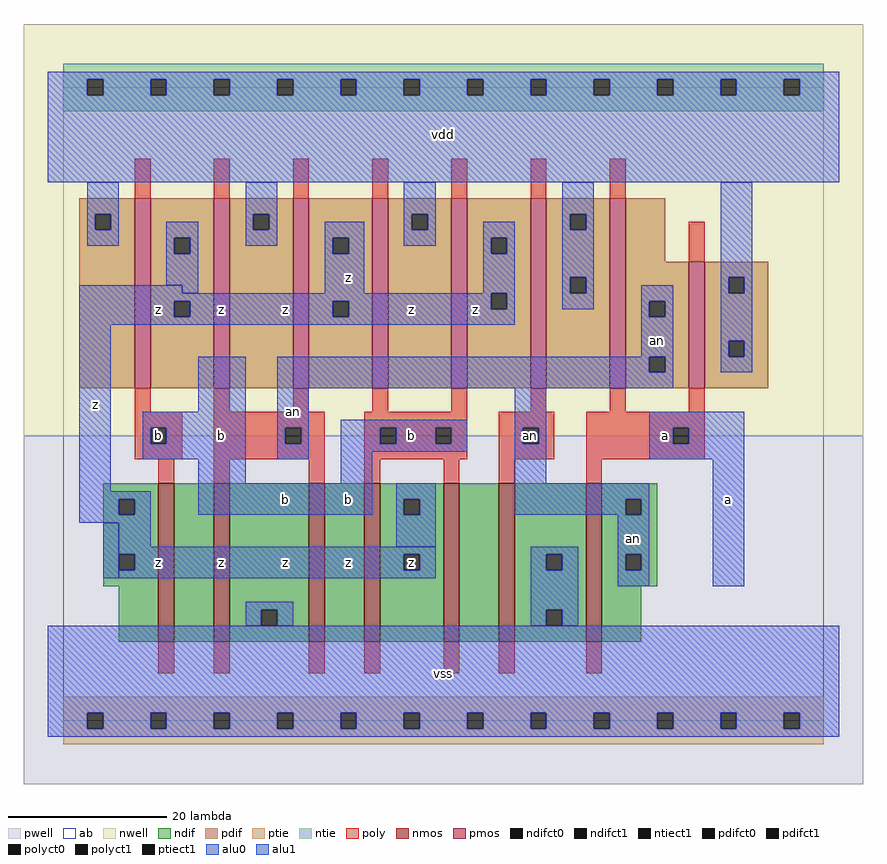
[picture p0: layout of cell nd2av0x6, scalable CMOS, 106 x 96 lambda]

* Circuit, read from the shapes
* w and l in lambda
.subckt nd2av0x6 a an b vdd vss z
M1 n1 b z vss nfet w=20 l=2
M2 vss an n1 vss nfet w=20 l=2
M3 n2 an vss vss nfet w=20 l=2
M4 z b n2 vss nfet w=20 l=2
M5 n3 b z vss nfet w=20 l=2
M6 vss an n3 vss nfet w=20 l=2
M7 an a vss vss nfet w=20 l=2
M8 z b vdd vdd pfet w=24 l=2 m=3
M9 vdd an z vdd pfet w=24 l=2 m=3
M10 an a vdd vdd pfet w=24 l=2
M11 vdd a an vdd pfet w=16 l=2
.ends

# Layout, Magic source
magic
tech scmos
<< ab >>
rect 0 0 96 80
<< nwell >>
rect -5 36 101 88
<< pwell >>
rect -5 -8 101 36
<< poly >>
rect 9 66 11 71
rect 19 66 21 71
rect 29 66 31 71
rect 39 66 41 71
rect 49 66 51 71
rect 59 66 61 71
rect 69 66 71 71
rect 79 58 81 63
rect 9 39 11 42
rect 19 39 21 42
rect 29 39 31 42
rect 39 39 41 42
rect 49 39 51 42
rect 59 39 61 42
rect 69 39 71 42
rect 79 39 81 42
rect 9 37 15 39
rect 9 35 11 37
rect 13 35 15 37
rect 9 33 15 35
rect 19 37 33 39
rect 19 35 28 37
rect 30 35 33 37
rect 19 33 33 35
rect 12 30 14 33
rect 19 30 21 33
rect 31 30 33 33
rect 38 37 51 39
rect 38 35 40 37
rect 42 35 47 37
rect 49 35 51 37
rect 38 33 51 35
rect 55 37 62 39
rect 55 35 58 37
rect 60 35 62 37
rect 55 33 62 35
rect 66 37 81 39
rect 66 35 77 37
rect 79 35 81 37
rect 66 33 81 35
rect 38 30 40 33
rect 48 30 50 33
rect 55 30 57 33
rect 66 30 68 33
rect 12 6 14 10
rect 19 6 21 10
rect 31 6 33 10
rect 38 6 40 10
rect 48 6 50 10
rect 55 6 57 10
rect 66 6 68 10
<< ndif >>
rect 5 28 12 30
rect 5 26 7 28
rect 9 26 12 28
rect 5 21 12 26
rect 5 19 7 21
rect 9 19 12 21
rect 5 17 12 19
rect 7 10 12 17
rect 14 10 19 30
rect 21 14 31 30
rect 21 12 25 14
rect 27 12 31 14
rect 21 10 31 12
rect 33 10 38 30
rect 40 28 48 30
rect 40 26 43 28
rect 45 26 48 28
rect 40 21 48 26
rect 40 19 43 21
rect 45 19 48 21
rect 40 10 48 19
rect 50 10 55 30
rect 57 21 66 30
rect 57 19 61 21
rect 63 19 66 21
rect 57 14 66 19
rect 57 12 61 14
rect 63 12 66 14
rect 57 10 66 12
rect 68 28 75 30
rect 68 26 71 28
rect 73 26 75 28
rect 68 21 75 26
rect 68 19 71 21
rect 73 19 75 21
rect 68 17 75 19
rect 68 10 73 17
<< pdif >>
rect 2 64 9 66
rect 2 62 4 64
rect 6 62 9 64
rect 2 42 9 62
rect 11 61 19 66
rect 11 59 14 61
rect 16 59 19 61
rect 11 53 19 59
rect 11 51 14 53
rect 16 51 19 53
rect 11 42 19 51
rect 21 64 29 66
rect 21 62 24 64
rect 26 62 29 64
rect 21 42 29 62
rect 31 61 39 66
rect 31 59 34 61
rect 36 59 39 61
rect 31 53 39 59
rect 31 51 34 53
rect 36 51 39 53
rect 31 42 39 51
rect 41 64 49 66
rect 41 62 44 64
rect 46 62 49 64
rect 41 42 49 62
rect 51 61 59 66
rect 51 59 54 61
rect 56 59 59 61
rect 51 54 59 59
rect 51 52 54 54
rect 56 52 59 54
rect 51 42 59 52
rect 61 64 69 66
rect 61 62 64 64
rect 66 62 69 64
rect 61 56 69 62
rect 61 54 64 56
rect 66 54 69 56
rect 61 42 69 54
rect 71 58 76 66
rect 71 53 79 58
rect 71 51 74 53
rect 76 51 79 53
rect 71 46 79 51
rect 71 44 74 46
rect 76 44 79 46
rect 71 42 79 44
rect 81 56 89 58
rect 81 54 84 56
rect 86 54 89 56
rect 81 48 89 54
rect 81 46 84 48
rect 86 46 89 48
rect 81 42 89 46
<< alu1 >>
rect -2 81 98 82
rect -2 79 3 81
rect 5 79 11 81
rect 13 79 19 81
rect 21 79 27 81
rect 29 79 35 81
rect 37 79 43 81
rect 45 79 51 81
rect 53 79 59 81
rect 61 79 67 81
rect 69 79 75 81
rect 77 79 83 81
rect 85 79 91 81
rect 93 79 98 81
rect -2 68 98 79
rect 33 61 38 63
rect 2 54 15 55
rect 33 59 34 61
rect 36 59 38 61
rect 53 61 57 63
rect 33 54 38 59
rect 53 59 54 61
rect 56 59 57 61
rect 53 54 57 59
rect 2 53 54 54
rect 2 51 14 53
rect 16 51 34 53
rect 36 52 54 53
rect 56 52 57 54
rect 36 51 57 52
rect 2 50 57 51
rect 2 29 6 50
rect 17 39 23 46
rect 10 37 23 39
rect 10 35 11 37
rect 13 35 23 37
rect 10 33 23 35
rect 35 37 51 38
rect 35 35 40 37
rect 42 35 47 37
rect 49 35 51 37
rect 35 34 51 35
rect 17 30 23 33
rect 35 30 39 34
rect 74 37 86 39
rect 74 35 77 37
rect 79 35 86 37
rect 74 33 86 35
rect 2 28 11 29
rect 2 26 7 28
rect 9 26 11 28
rect 17 26 39 30
rect 2 25 11 26
rect 7 22 11 25
rect 7 21 47 22
rect 9 19 43 21
rect 45 19 47 21
rect 7 18 47 19
rect 82 17 86 33
rect -2 1 98 12
rect -2 -1 3 1
rect 5 -1 11 1
rect 13 -1 19 1
rect 21 -1 27 1
rect 29 -1 35 1
rect 37 -1 43 1
rect 45 -1 51 1
rect 53 -1 59 1
rect 61 -1 67 1
rect 69 -1 75 1
rect 77 -1 83 1
rect 85 -1 91 1
rect 93 -1 98 1
rect -2 -2 98 -1
<< ptie >>
rect 0 1 96 3
rect 0 -1 3 1
rect 5 -1 11 1
rect 13 -1 19 1
rect 21 -1 27 1
rect 29 -1 35 1
rect 37 -1 43 1
rect 45 -1 51 1
rect 53 -1 59 1
rect 61 -1 67 1
rect 69 -1 75 1
rect 77 -1 83 1
rect 85 -1 91 1
rect 93 -1 96 1
rect 0 -3 96 -1
<< ntie >>
rect 0 81 96 83
rect 0 79 3 81
rect 5 79 11 81
rect 13 79 19 81
rect 21 79 27 81
rect 29 79 35 81
rect 37 79 43 81
rect 45 79 51 81
rect 53 79 59 81
rect 61 79 67 81
rect 69 79 75 81
rect 77 79 83 81
rect 85 79 91 81
rect 93 79 96 81
rect 0 77 96 79
<< nmos >>
rect 12 10 14 30
rect 19 10 21 30
rect 31 10 33 30
rect 38 10 40 30
rect 48 10 50 30
rect 55 10 57 30
rect 66 10 68 30
<< pmos >>
rect 9 42 11 66
rect 19 42 21 66
rect 29 42 31 66
rect 39 42 41 66
rect 49 42 51 66
rect 59 42 61 66
rect 69 42 71 66
rect 79 42 81 58
<< polyct0 >>
rect 28 35 30 37
rect 58 35 60 37
<< polyct1 >>
rect 11 35 13 37
rect 40 35 42 37
rect 47 35 49 37
rect 77 35 79 37
<< ndifct0 >>
rect 25 12 27 14
rect 43 26 45 28
rect 61 19 63 21
rect 61 12 63 14
rect 71 26 73 28
rect 71 19 73 21
<< ndifct1 >>
rect 7 26 9 28
rect 7 19 9 21
rect 43 19 45 21
<< ntiect1 >>
rect 3 79 5 81
rect 11 79 13 81
rect 19 79 21 81
rect 27 79 29 81
rect 35 79 37 81
rect 43 79 45 81
rect 51 79 53 81
rect 59 79 61 81
rect 67 79 69 81
rect 75 79 77 81
rect 83 79 85 81
rect 91 79 93 81
<< ptiect1 >>
rect 3 -1 5 1
rect 11 -1 13 1
rect 19 -1 21 1
rect 27 -1 29 1
rect 35 -1 37 1
rect 43 -1 45 1
rect 51 -1 53 1
rect 59 -1 61 1
rect 67 -1 69 1
rect 75 -1 77 1
rect 83 -1 85 1
rect 91 -1 93 1
<< pdifct0 >>
rect 4 62 6 64
rect 14 59 16 61
rect 24 62 26 64
rect 44 62 46 64
rect 64 62 66 64
rect 64 54 66 56
rect 74 51 76 53
rect 74 44 76 46
rect 84 54 86 56
rect 84 46 86 48
<< pdifct1 >>
rect 14 51 16 53
rect 34 59 36 61
rect 34 51 36 53
rect 54 59 56 61
rect 54 52 56 54
<< alu0 >>
rect 3 64 7 68
rect 3 62 4 64
rect 6 62 7 64
rect 23 64 27 68
rect 3 60 7 62
rect 13 61 17 63
rect 13 59 14 61
rect 16 59 17 61
rect 23 62 24 64
rect 26 62 27 64
rect 43 64 47 68
rect 23 60 27 62
rect 13 55 17 59
rect 15 54 17 55
rect 43 62 44 64
rect 46 62 47 64
rect 63 64 67 68
rect 43 60 47 62
rect 63 62 64 64
rect 66 62 67 64
rect 63 56 67 62
rect 63 54 64 56
rect 66 54 67 56
rect 83 56 87 68
rect 63 52 67 54
rect 73 53 77 55
rect 73 51 74 53
rect 76 51 77 53
rect 73 46 77 51
rect 27 44 74 46
rect 76 44 77 46
rect 83 54 84 56
rect 86 54 87 56
rect 83 48 87 54
rect 83 46 84 48
rect 86 46 87 48
rect 83 44 87 46
rect 27 42 77 44
rect 27 37 31 42
rect 27 35 28 37
rect 30 35 31 37
rect 27 33 31 35
rect 57 37 61 42
rect 57 35 58 37
rect 60 35 61 37
rect 57 30 61 35
rect 42 28 47 30
rect 42 26 43 28
rect 45 26 47 28
rect 57 28 74 30
rect 57 26 71 28
rect 73 26 74 28
rect 5 18 7 25
rect 42 22 47 26
rect 59 21 65 22
rect 59 19 61 21
rect 63 19 65 21
rect 23 14 29 15
rect 23 12 25 14
rect 27 12 29 14
rect 59 14 65 19
rect 70 21 74 26
rect 70 19 71 21
rect 73 19 74 21
rect 70 17 74 19
rect 59 12 61 14
rect 63 12 65 14
<< labels >>
rlabel alu0 29 39 29 39 6 an
rlabel polyct0 59 36 59 36 6 an
rlabel alu0 72 23 72 23 6 an
rlabel alu0 75 48 75 48 6 an
rlabel alu1 12 20 12 20 6 z
rlabel alu1 20 20 20 20 6 z
rlabel alu1 20 36 20 36 6 b
rlabel polyct1 12 36 12 36 6 b
rlabel alu1 4 40 4 40 6 z
rlabel alu1 20 52 20 52 6 z
rlabel alu1 12 52 12 52 6 z
rlabel alu1 28 20 28 20 6 z
rlabel alu1 36 20 36 20 6 z
rlabel ndifct1 44 20 44 20 6 z
rlabel alu1 44 36 44 36 6 b
rlabel alu1 36 28 36 28 6 b
rlabel alu1 28 28 28 28 6 b
rlabel alu1 36 56 36 56 6 z
rlabel alu1 44 52 44 52 6 z
rlabel alu1 28 52 28 52 6 z
rlabel alu1 48 6 48 6 6 vss
rlabel alu1 52 52 52 52 6 z
rlabel alu1 48 74 48 74 6 vdd
rlabel alu1 76 36 76 36 6 a
rlabel alu1 84 28 84 28 6 a
<< end >>
